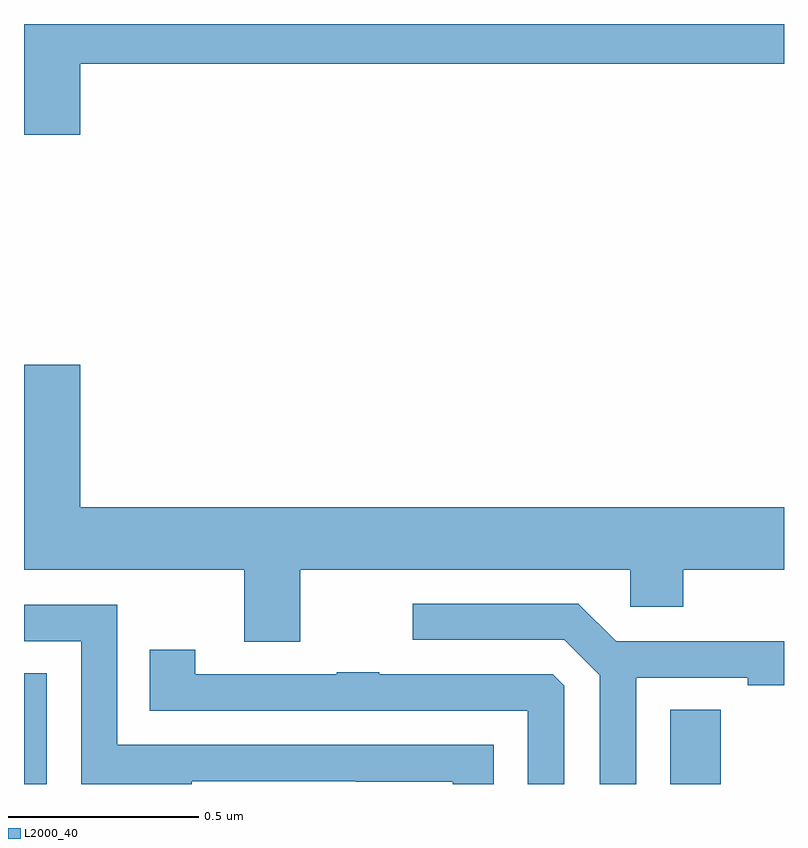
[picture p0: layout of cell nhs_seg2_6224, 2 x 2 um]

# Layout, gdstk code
import gdstk
lib = gdstk.Library(unit=1e-6, precision=1e-09)
def R(c, l, rs):  # rectangles x0, y0, x1, y1
    for r in rs: c.add(gdstk.rectangle(r[:2], r[2:], *l))
def P(c, l, *ps):  # polygons
    for p in ps: c.add(gdstk.Polygon(p, *l))
L2000_40 = (2000, 40)

nhs_seg2_6224 = lib.new_cell('nhs_seg2_6224')
R(nhs_seg2_6224, L2000_40, [(189,585.8,189.06,586.091), (190.7,585.8,190.834,585.995)])
P(nhs_seg2_6224, L2000_40, [(189.148,587.696),(191,587.696),(191,587.8),(189,587.8),(189,587.508),(189.148,587.508)],
  [(189.727,586.364),(190.596,586.364),(190.596,586.266),(190.735,586.266),(190.735,586.364),(191,586.364),(191,586.528),(189.148,586.528),(189.148,586.903),(189,586.903),(189,586.364),(189.58,586.364),(189.58,586.174),(189.727,586.174)],
  [(190.611,586.08),(190.904,586.08),(190.904,586.06),(191,586.06),(191,586.176),(190.558,586.176),(190.459,586.275),(190.023,586.275),(190.023,586.179),(190.422,586.179),(190.515,586.086),(190.515,585.8),(190.611,585.8)],
  [(189.441,585.807),(189.873,585.807),(189.873,585.806),(190.128,585.806),(190.128,585.8),(190.236,585.8),(190.236,585.903),(189.246,585.903),(189.246,586.272),(189,586.272),(189,586.176),(189.15,586.176),(189.15,585.8),(189.441,585.8)],
  [(190.422,586.059),(190.392,586.089),(189.935,586.089),(189.935,586.094),(189.823,586.094),(189.823,586.089),(189.45,586.089),(189.45,586.153),(189.331,586.153),(189.331,585.993),(190.326,585.993),(190.326,585.8),(190.422,585.8)])

lib.write_gds('nhs_seg2_6224.gds')
